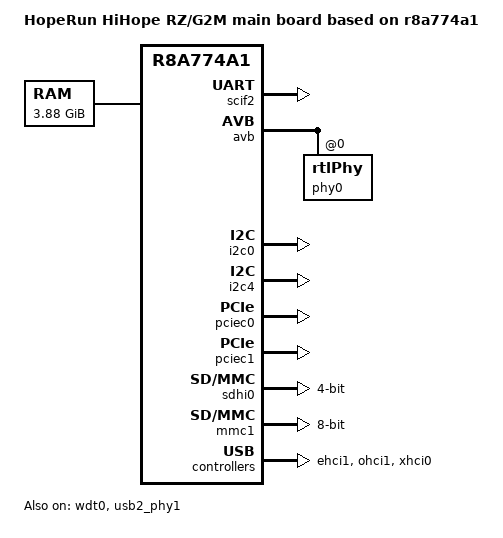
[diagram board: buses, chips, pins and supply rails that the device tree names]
/* r8a774a1-hihope-rzg2m.dts - Renesas RZ/G2M board device tree source */

/*
modification history
--------------------
17sep19,hli  created (VXWPG-394)
*/

/dts-v1/;

#include "prjParams.h"
#include "r8a774a1.dtsi"

/   {
    model = "HopeRun HiHope RZ/G2M main board based on r8a774a1";
    compatible = "hoperun,hihope-rzg2m";

    #address-cells = <2>;
    #size-cells = <2>;
    interrupt-parent = <&gic>;

    memory@0
        {
        device_type = "memory";

        /* first 128MB is reserved for secure area */

        reg = <0x0 0x48000000 0x0 0x78000000>,
              <0x6 0x00000000 0x0 0x80000000>;

        };

    /* ethernet<n> alias required for U-Boot bootm MAC address update */

    aliases
        {
        serial0 = &scif2;
        ethernet0 = &avb;
        };

    chosen
        {
        /* U-Boot bootm command will update bootargs in standalone DTB */

        bootargs = DEFAULT_BOOT_LINE;
        };
    };

&scif_clk
    {
    clock-frequency = <14745600>;
    };

&extal_clk
    {
    clock-frequency = <16666666>;
    };

&extalr_clk
    {
    clock-frequency = <32768>;
    };

&pcie_bus_clk
    {
    clock-frequency = <100000000>;
    };
    
&scif2
    {
    pinmux-0 = <&scif2Pins>;
    status = "okay";
    };

&avb
    {
    /* U-Boot bootm command will update local-mac-address in standalone DTB */
    local-mac-address = [ 2E 09 0A 00 00 00 ];

    pinmux-0 = <&avb_pins>;
    phy-handle = <&phy0>;
    phy-mode = "rgmii-id";
    status = "okay";
    
    phy0: ethernet-phy@0
       {
        compatible = "rtlPhy";
        reg = <0>;
       };
    };

&pfc
    {
    scif2Pins: scif2
        {
        /* TX2_A, RX2_A */
        pins = "sipF38", "sipF39";
        function = "scif2";
        bias-disable;
        drive-control = <8>;
        };

    avb_pins: avb
        {
        mux
            {
            /* AVB_MDC, AVB_PHY_INT, AVB_LINK */
            pins = "sipA15", "sipB16", "sipB9";
            function = "etheravb";
            bias-disable;
            };

        conf
            {
            /*
             * AVB_MDIO, AVB_TXCREF_CLK, AVB_TD3, AVB_TD2, AVB_TD1, AVB_TD0,
             * AVB_TXC, AVB_TX_CTL, AVB_RD3, AVB_RD2, AVB_RD1, AVB_RD0,
             * AVB_RXC, AVB_RX_CTL
             */
            pins = "sipA9", "sipA12", "sipB17", "sipA17", "sipB18", "sipA18",
                   "sipA19", "sipA8", "sipB14", "sipA14", "sipB13", "sipA13",
                   "sipB19", "sipA16";
            bias-disable;
            };

        drv_half
            {
            /* AVB_TD3, AVB_TD2, AVB_TD1, AVB_TD0, AVB_TXC, AVB_TX_CTL */
            pins = "sipB17", "sipA17", "sipB18", "sipA18", "sipA19", "sipA8";
            drive-control = <4>;
            };

        drv_full
            {
            /* AVB_MDC, AVB_MDIO */
            pins = "sipA15", "sipA9";
            drive-control = <8>;
            };
        };

    i2c0Pins: i2c0
        {
        pins = "sipC29", "sipB29";
        function = "i2c0";
        bias-disable;
        drive-control = <1>;
        };

    i2c1APins: i2c1A
        {
        pins = "sipAB34", "sipAB33";
        function = "i2c1";
        bias-disable;
        drive-control = <1>;
        };

    i2c1BPins: i2c1B
        {
        pins = "sipAA39", "sipJ39";
        function = "i2c1";
        bias-disable;
        drive-control = <1>;
        };

    i2c2APins: i2c2A
        {
        pins = "sipG39", "sipK39";
        function = "i2c2";
        bias-disable;
        drive-control = <1>;
        };

    i2c2BPins: i2c2B
        {
        pins = "sipV31", "sipV30";
        function = "i2c2";
        bias-disable;
        drive-control = <1>;
        };

    i2c3Pins: i2c3
        {
        pins = "sipB6", "sipA6";
        function = "i2c3";
        bias-disable;
        drive-control = <1>;
        };

    i2c5Pins: i2c5
        {
        pins = "sipB11", "sipA11";
        function = "i2c5";
        bias-disable;
        drive-control = <1>;
        };

    i2c6APins: i2c6A
        {
        pins = "sipJ1", "sipK2";
        function = "i2c6";
        bias-disable;
        drive-control = <1>;
        };

    i2c6BPins: i2c6B
        {
        pins = "sipB1", "sipD2";
        function = "i2c6";
        bias-disable;
        drive-control = <1>;
        };

    i2c6CPins: i2c6C
        {
        pins = "sipR2", "sipR1";
        function = "i2c6";
        bias-disable;
        drive-control = <1>;
        };

    sdhi0Pins: sd0
        {
        sdhi0
            {
            pins = "sipT35", "sipU33",  /* CLK and CMD */
                   "sipT33", "sipT32",  /* DATA0 and DATA1 */
                   "sipU35", "sipU34";  /* DATA2 and DATA3 */
            function = "sdhi0";
            };

        gpioCd
            {
            pins = "sipV31";        /* GP3-12 */
            bias-disable;
            gpio-enable;
            drive-control = <8>;
            };
        };

    mmc0Pins: mmc0
        {
        pins = "sipA26", "sipA25",  /* CLK and CMD */
               "sipD26", "sipC25",  /* DATA0 and DATA1 */
               "sipD24", "sipD23",  /* DATA2 and DATA3 */
               "sipA27", "sipB27",  /* DATA4 and DATA5 */
               "sipC27", "sipD27",  /* DATA6 and DATA7 */
               "sipB25";            /* DS */
        function = "mmc0";
        };

    mmc1Pins: mmc1
        {
        pins = "sipM35", "sipM31",  /* CLK and CMD */
               "sipL33", "sipM30",  /* DATA0 and DATA1 */
               "sipM32", "sipL34",  /* DATA2 and DATA3 */
               "sipM33", "sipN33",  /* DATA4 and DATA5 */
               "sipN32", "sipN31",  /* DATA6 and DATA7 */
               "sipN30";            /* DS */
        function = "mmc1";
        };

    usb0Pins: usb0
        {
        pins = "sipAH31", "sipAH32"; /* USB0_PWEN and USB0_OVC for usb2.0 */
        function = "usb0";
        };

    usb1Pins: usb1
        {
        pins = "sipAH34", "sipAH33"; /* USB1_PWEN and USB1_OVC for usb2.0 */
        function = "usb1";
        };

    usb30Pins: usb30
        {
        pins = "sipAJ33", "sipAH30"; /* USB30_PWEN and USB30_OVC for usb3.0 */
        function = "usb3";
        };
    };

&gpio6
    {
    status = "okay";
    };

&wdt0
    {
    status = "okay";
    };

&i2c0
    {
    pinmux-0 = <&i2c0Pins>;
    status = "okay";
    };

&i2c4
    {
    status = "okay";
    };

&pciec0
    {
    status = "okay";
    };

&pciec1
    {
    status = "okay";
    };

&sdhi0
    {
    pinmux-0 = <&sdhi0Pins>;
    cd-pin   = <0xfffe>;    /* always exist */
    wp-pin   = <0xffff>;    /* always writeable */
    driver-type = <1>;
    bus-width = <4>;
    status = "okay";
    };

&mmc1
    {
    pinmux-0 = <&mmc1Pins>;
    cd-pin   = <0xfffe>;    /* always exist */
    wp-pin   = <0xffff>;    /* always writeable */
    voltage-support = "1V8";
    driver-type = <1>;
    bus-width = <8>;
    status = "okay";
    };

&usb2_phy1
    {
    pinmux-0 = <&usb1Pins>;
    status = "okay";
    };

&ehci1
    {
    status = "okay";
    };

&ohci1
    {
    status = "okay";
    };

&xhci0
    {
    pinmux-0 = <&usb30Pins>;
    status = "okay";
    };
